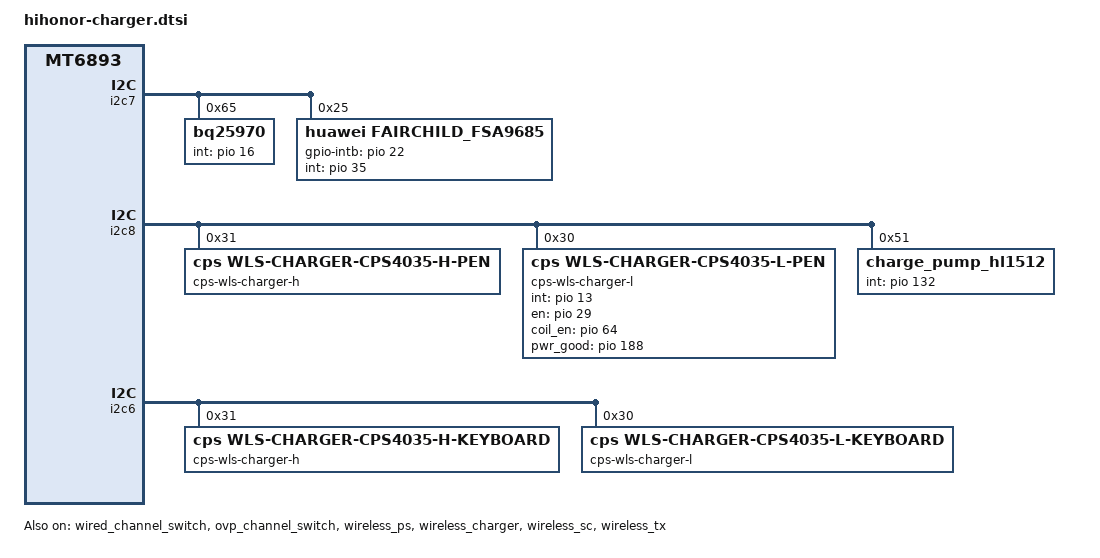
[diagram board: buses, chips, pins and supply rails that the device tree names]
#include "../hihonor_charger/mt6893_chl_22p5w_honor_charger.dtsi"

	&pio {
		bq25970_irq_pins_default: bq25970_irq_pins_default {
			pins_cmd_dat {
				pinmux = <PINMUX_GPIO16__FUNC_GPIO16>;
				slew-rate = <0>;
				bias-pull-up;
			};
		};
		fsa9685_irq_pins_default: fsa9685_irq_pins_default {
			pins_cmd_dat {
				pinmux = <PINMUX_GPIO22__FUNC_GPIO22>;
				slew-rate = <0>;
				bias-pull-up;
			};
		};
		usb_dpdn_switch_pins_default: usb_dpdn_switch_pins_default {
			pins_cmd_dat {
				pinmux = <PINMUX_GPIO35__FUNC_GPIO35>;
				slew-rate = <1>;
				bias-disable;
				output-high;
			};
		};
	};

	&i2c7 {
		bq25970@65 {
			compatible = "bq25970";
		pinctrl-names = "default";
		pinctrl-0 = <&bq25970_irq_pins_default>;
		gpio_int = <&pio 16 0x0>;
		switching_frequency = <675>;
		sense_r_config = <50>;
		sense_r_actual = <50>;
		reg = <0x65>;
		status = "ok";
	};
	fairchild_fsa9685@25 {
		compatible = "huawei,fairchild_fsa9685";
		reg = <0x25>;
		pinctrl-names = "default","default";
		pinctrl-0 = <&fsa9685_irq_pins_default>;
		pinctrl-1 = <&usb_dpdn_switch_pins_default>;
		fairchild_fsa9685,gpio-intb = <&pio 22 0x0>;
		gpio_int = <&pio 35 0x0>;
		usbid-enable = <0>;
		fcp_support = <1>;
		scp_support = <1>;
		mhl_detect_disable = <1>;
		power_by_5v = <1>;
		close_bc12 = <0>;
		ignore_force_ac = <1>;
		/* for rt8979 */
		interrupt-names = "vbus_change", "device_change", "detach",
				  "attach";
		/* auto_switch; */
		scp;
		dcd;
		dcd_timeout = <600>;  /* ms */
		intb_watchdog = <1000>;  /* ms */
		ovp_sel = <14500000>;  /* uV */
		status = "ok";
	};
};

	&pio {
		cps4035_p_irq_pins_default: cps4035_p_irq_pins_default {
			pins_cmd_dat {
				pinmux = <PINMUX_GPIO13__FUNC_GPIO13>;
				slew-rate = <0>;
				bias-pull-up;
			};
		};
		cps4035_kb_irq_pins_default: cps4035_kb_irq_pins_default {
			pins_cmd_dat {
				pinmux = <PINMUX_GPIO12__FUNC_GPIO12>;
				slew-rate = <0>;
				bias-pull-up;
			};
		};
		cps4035_6v_switch_pins_default: cps4035_6v_switch_pins_default {
			pins_cmd_dat {
				pinmux = <PINMUX_GPIO188__FUNC_GPIO188>;
				slew-rate = <1>;
				bias-disable;
				output-high;
			};
		};
		cps4035_p_en_switch_pins_default: cps4035_p_en_switch_pins_default {
			pins_cmd_dat {
				pinmux = <PINMUX_GPIO29__FUNC_GPIO29>;
				slew-rate = <1>;
				bias-disable;
				output-low;
			};
		};
		cps4035_coil_pen_switch_pins_default: cps4035_coil_pen_switch_pins_default {
			pins_cmd_dat {
				pinmux = <PINMUX_GPIO64__FUNC_GPIO64>;
				slew-rate = <1>;
				bias-disable;
				output-high;
			};
		};
		cps4035_kb_en_switch_pins_default: cps4035_kb_en_switch_pins_default {
			pins_cmd_dat {
				pinmux = <PINMUX_GPIO30__FUNC_GPIO30>;
				slew-rate = <1>;
				bias-disable;
				output-low;
			};
		};
		cps4035_coil_kb_switch_pins_default: cps4035_coil_kb_switch_pins_default {
			pins_cmd_dat {
				pinmux = <PINMUX_GPIO184__FUNC_GPIO184>;
				slew-rate = <1>;
				bias-disable;
				output-low;
			};
		};
	};

	&i2c8 {
		#address-cells = <1>;
		#size-cells = <0>;
		cps-wls-charger-h@31 {
			compatible = "cps, wls-charger-cps4035-H-pen";
			reg = <0x31>;
		};
		cps-wls-charger-l@30 {
			compatible = "cps, wls-charger-cps4035-L-pen";
			reg = <0x30>;
			pinctrl-names = "default","default","default","default";
			pinctrl-0 = <&cps4035_p_irq_pins_default>;
			pinctrl-1 = <&cps4035_p_en_switch_pins_default>;
			pinctrl-2 = <&cps4035_6v_switch_pins_default>;
			pinctrl-3 = <&cps4035_coil_pen_switch_pins_default>;
			gpio_int = <&pio 13 0x0>;
			gpio_en = <&pio 29 0x0>;
			gpio_coil_en = <&pio 64 0x0>;
			gpio_pwr_good = <&pio 188 0x0>;
		};

		charge_pump_hl1512@51 {
			compatible = "charge_pump_hl1512";
			reg = <0x51>;
			gpio_int = <&pio 132 0x0>;
			status = "ok";
		};
	};

	&i2c6 {
		#address-cells = <1>;
		#size-cells = <0>;
		cps-wls-charger-h@31 {
		compatible = "cps,wls-charger-cps4035-H-keyboard";
		reg = <0x31>;
		};
		cps-wls-charger-l@30 {
			compatible = "cps,wls-charger-cps4035-L-keyboard";
			reg = <0x30>;
		};
	};

	&vbus_channel_boost_gpio {
		gpio_otg_switch = <&pio 138 0x0>;
		status = "ok";
	};

	&pd_dpm {
		otg_channel = <1>;
	};

	&wired_channel_switch {
		use_ovp_cutoff_wired_channel = <1>;
		use_super_switch_cutoff_wired_channel = <0>;
		use_wireless_switch_cutoff_wired_channel = <0>;
		status = "ok";
	};

	&ovp_channel_switch {
		gpio_ovp_chsw_en = <&pio 112 0x0>;
		gpio_low_by_set_input = <0>;
		status = "ok";
	};

	&wireless_ps {
		gpio_txsw = <&pio 22 0x0>;
		gpio_txsw_valid_val = <1>;
		gpio_rxsw = <&pio 101 0x0>;
		gpio_rxsw_valid_val = <0>;
		gpio_ext_pwr_sw = <&pio 5 0x0>;
		gpio_ext_pwr_sw_valid_val = <1>;
		tx_ps_ctrl_src = <1>; /* 0:NA 1:tx_chip 2:AP */
		sysfs_en_pwr = <1>; /* 0:null 1:rx_pwr 2:tx_pwr */
		proc_otp_pwr = <1>; /* 0:null 1:rx_pwr 2:tx_pwr */
		status = "ok";
	};

	&wireless_charger {
		pmax = <30>;
		product_max_pwr = <50000>;
		ui_max_pwr = <27000>;
		fod_status = <0x3163>; /* b1:fop b2:q_val */
		antifake_key_index = <1>;
		interference_para =
			"0x01", "0xfe", "131", "5000", "5500", "475",
			"0x02", "0xfd", "-1",  "-1",   "-1",   "1000";
		rx_mode_para =
			/*This table should be arranged in ascending order of power mode priority*/
			/*mode  tx_vout  tx_iout tx_vset  rx_vset  rx_iset vrect_lth tbatt cable cert  icon time expect_mode*/
			"5W",   "5000",  "475",  "5000",  "5500",  "825",  "4650",   "-1", "-1", "-1", "0", "-1",  "4",
			"7.5W", "9000",  "1400", "9000",  "9900",  "825",  "8000",   "-1", "-1", "-1", "0", "-1",  "2",
			"10W",  "9000",  "2000", "9000",  "9900",  "1100", "9000",   "-1", "-1", "1",  "1", "-1",  "4",
			"SC_2", "9000",  "2000", "9000",  "9000",  "-1",   "-1",     "45", "-1", "1",  "1", "-1",  "4",
			"SC_4", "15000", "1800", "15000", "15000", "-1",   "-1",     "45", "-1", "1",  "2", "-1",  "-1";
		status = "ok";
	};

	&wireless_sc {
		support_multi_ic = <1>;
		single_ic_cp_iout_th = <4100>;
		multi_ic_para = <2400 1000 2000 10000>;
		ibat_max_hth = <10000>;
		ibat_min_lth = <9700>;
		max_vgap = <250>;
		iout_drop_th = <1500>;
		tbat_limit_para = <10 13 46 42>;
		init_para =
			/* in ratio-descending order
			* ext_pwr: bit(0): needed by sc chip; bit(1): needed by rx
			* type   type_name ext_pwr rx_ratio vbatt(lth, hth) rx_vout  vout_th vdiff  ileak_th vdelt  rx_vmax
			*/
			"0x2", "SC_2",   "0",    "1",     "3550", "4380", "9000",  "450",  "300", "100",   "300", "10000",
			"0x4", "SC_4",   "2",    "2",     "3550", "4380", "15000", "500",  "300", "100",   "300", "20000";
		volt_para00 =
			"4400", "1300", "700";
		volt_para01 =
			"4150", "5200", "3000",
			"4250", "3000", "2000",
			"4300", "2000", "1400",
			"4400", "1400", "700";
		volt_para02 =
			"4250", "5200", "4000",
			"4300", "4000", "3000",
			"4380", "3000", "2400",
			"4400", "2400", "700";
		bat_para =
			"default", "10", "46", "0x02", "volt_para00",
			"default", "10", "46", "0x04", "volt_para01",
			"CAE", "10", "46", "0x02", "volt_para00",
			"CAE", "10", "20", "0x04", "volt_para01",
			"CAE", "20", "46", "0x04", "volt_para02";
		vbat_comp_para = <7 0 20 7 1 30>;
		status = "ok";
	};

	&wireless_tx {
		pwr_type = <3>; /* 5VBST */
		/* rx_vmin rx_vmax tx_vset tx_lvset tx_hvset tx_pl_th tx_pl_cnt ext_hdl */
		tx_vset_para = < 4900 6400 5000 4500 6300 0 0 0 >;
		/* power_supply ping handshake default */
		tx_stage_vset = <5000 5000 5000 5000>;
		/* type vout iout extra */
		tx_cap = <
			0x9 5000 600  0
		>;
		status = "ok";
	};
